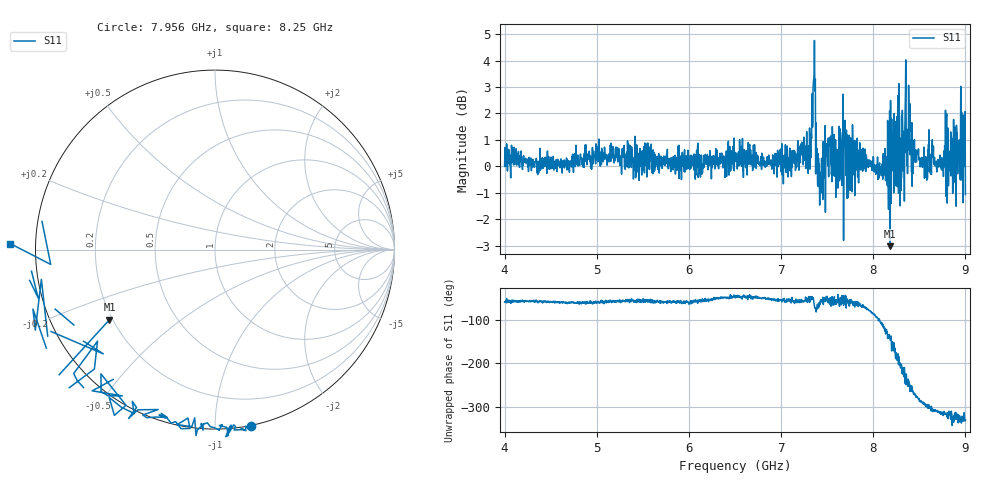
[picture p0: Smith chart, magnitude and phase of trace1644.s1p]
! Created with skrf 1.8.0 (http://scikit-rf.org).
# Hz S RI R 50.0
!freq ReS11 ImS11
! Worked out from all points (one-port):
!   1601 points, 4 GHz to 9 GHz, reference 50 ohm
!   lowest |S11| = -3.0 dB at 8.184 GHz (marker M1), VSWR 5.82, Z = 9.36 - j14.6 ohm
!   |S11| at or under -10 dB: nowhere
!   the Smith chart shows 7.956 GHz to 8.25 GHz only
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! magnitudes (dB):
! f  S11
! 4 GHz  0.0
! 4.625 GHz  -0.3
! 5.25 GHz  0.0
! 5.875 GHz  0.2
! 6.5 GHz  0.2
! 7.125 GHz  0.6
! 7.306 GHz  0.1
! 7.353 GHz  3.3
! 7.375 GHz  -0.3
! 7.4 GHz  0.5
! 7.428 GHz  -0.3
! 7.519 GHz  0.8
! 7.594 GHz  -1.2
! 7.65 GHz  0.8
! 7.75 GHz  -0.9
! 7.8 GHz  -1.1
! 8.081 GHz  -0.2
! 8.184 GHz  -3.0
! 8.262 GHz  -0.8
! 8.316 GHz  2.1
! 8.331 GHz  0.0
! 8.375 GHz  1.0
! 8.434 GHz  0.8
! 8.562 GHz  -0.4
! 8.788 GHz  -0.2
! 8.875 GHz  0.4
! 8.972 GHz  0.5
! 9 GHz  -1.1
